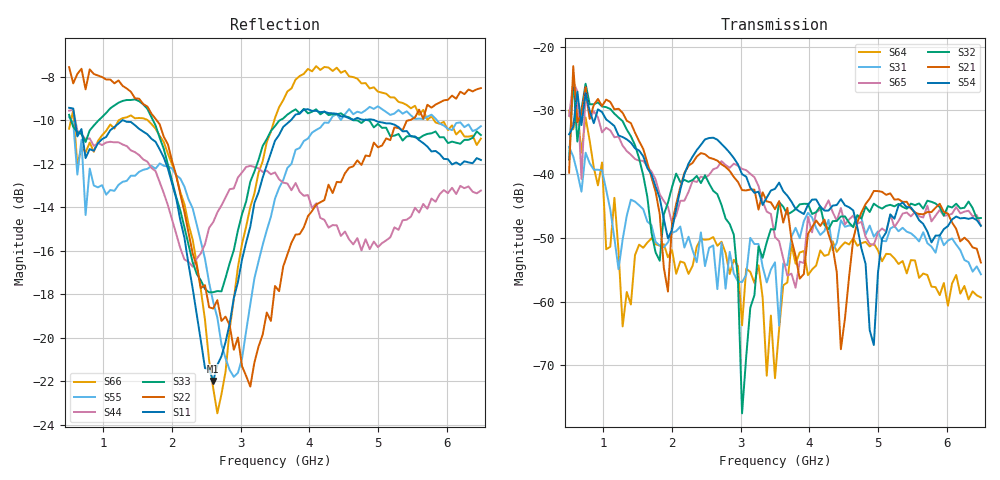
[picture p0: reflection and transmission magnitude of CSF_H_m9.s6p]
!Keysight Technologies,M9804A,MY58100912,A.14.10.03
!Date: Thursday, April 27, 2023 10:28:33
!Correction: S11(C  6-Port  )
!S12(C  6-Port  )
!S13(C  6-Port  )
!S14(C  6-Port  )
!S15(C  6-Port  )
!S16(C  6-Port  )
!S21(C  6-Port  )
!S22(C  6-Port  )
!S23(C  6-Port  )
!S24(C  6-Port  )
!S25(C  6-Port  )
!S26(C  6-Port  )
!S31(C  6-Port  )
!S32(C  6-Port  )
!S33(C  6-Port  )
!S34(C  6-Port  )
!S35(C  6-Port  )
!S36(C  6-Port  )
!S41(C  6-Port  )
!S42(C  6-Port  )
!S43(C  6-Port  )
!S44(C  6-Port  )
!S45(C  6-Port  )
!S46(C  6-Port  )
!S51(C  6-Port  )
!S52(C  6-Port  )
!S53(C  6-Port  )
!S54(C  6-Port  )
!S55(C  6-Port  )
!S56(C  6-Port  )
!S61(C  6-Port  )
!S62(C  6-Port  )
!S63(C  6-Port  )
!S64(C  6-Port  )
!S65(C  6-Port  )
!S66(C  6-Port  )
!S6P File: Measurement: :
# Hz S  RI  R 50
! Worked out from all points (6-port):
!   101 points, 500 MHz to 6.5 GHz, reference 50 ohm
!   strongest paths, dB at 500 MHz, 2 GHz, 3.5 GHz, 5 GHz, 6.5 GHz:
!     S54: -33.7, -48.7, -42.3, -55.5, -48.1
!     S21: -39.8, -47.7, -45.5, -42.6, -53.9
!     S32: -37.7, -42.0, -48.7, -45.1, -46.9
!     S65: -30.9, -47.7, -49.9, -49.2, -48.1
!     S31: -35.7, -49.2, -53.8, -49.0, -55.7
!     S64: -30.0, -51.9, -72.0, -51.9, -59.3
!   lowest |S11| = -22.0 dB at 2.6 GHz (marker M1), VSWR 1.17, Z = 42.9 + j1.93 ohm
!   |S11| at or under -10 dB: 585.6 MHz to 1.274 GHz (688 MHz wide, 74 % of centre); 1.292 GHz to 3.728 GHz (2.436 GHz wide, 97 % of centre); 4.957 GHz to end of sweep
